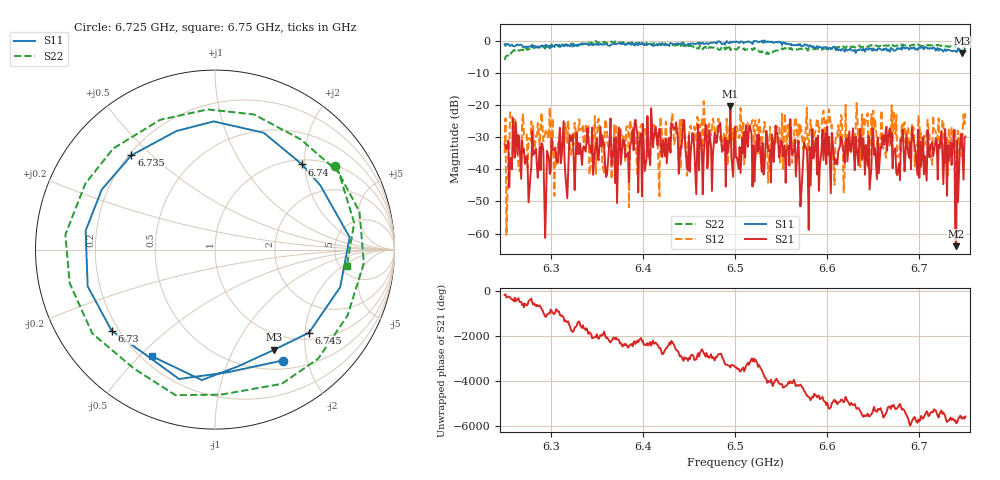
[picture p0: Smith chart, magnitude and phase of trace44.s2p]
# Hz S RI R 50
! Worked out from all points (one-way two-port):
!   401 points, 6.25 GHz to 6.75 GHz, reference 50 ohm
!   highest |S21| = -20.32 dB at 6.495 GHz (marker M1); lowest = -63.9 dB at 6.74 GHz (marker M2)
!   lowest |S11| = -3.8 dB at 6.746 GHz (marker M3), VSWR 4.68, Z = 38.3 - j73.5 ohm
!   |S11| at or under -10 dB: nowhere
!   |S22| runs from -5.9 to 0.1 dB; largest |S21 - S12| = 0.15
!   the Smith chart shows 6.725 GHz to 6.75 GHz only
!   S11 on the Smith chart (normalised r, x): 6.725 GHz: 0.62, -1.60; 6.73 GHz: 0.17, -0.34; 6.735 GHz: 0.21, +0.43; 6.74 GHz: 1.10, +1.94; 6.745 GHz: 1.16, -2.10; 6.75 GHz: 0.24, -0.55
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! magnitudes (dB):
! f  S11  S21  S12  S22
! 6.25 GHz  -0.9  -32.1  -34.9  -5.9
! 6.259 GHz  -1.5  -24.0  -28.5  -3.0
! 6.265 GHz  -1.3  -29.3  -38.6  -2.9
! 6.276 GHz  -1.8  -50.3  -30.3  -2.5
! 6.29 GHz  -1.6  -31.8  -22.3  -1.8
! 6.296 GHz  -1.8  -34.2  -28.6  -1.7
! 6.306 GHz  -1.1  -37.1  -38.5  -1.1
! 6.334 GHz  -1.0  -38.6  -27.5  -0.7
! 6.418 GHz  -0.7  -27.3  -48.3  -1.1
! 6.495 GHz  -0.1  -20.3  -25.4  -2.8
! 6.5 GHz  -0.2  -26.7  -32.6  -2.5
! 6.58 GHz  -1.8  -58.8  -32.7  -2.3
! 6.584 GHz  -2.0  -27.4  -31.0  -2.3
! 6.668 GHz  -3.3  -27.2  -32.6  -1.1
! 6.676 GHz  -2.2  -41.8  -36.2  -1.4
! 6.725 GHz  -2.8  -34.2  -24.6  -1.8
! 6.73 GHz  -2.7  -48.2  -30.2  -1.5
! 6.735 GHz  -3.1  -38.6  -26.8  -1.9
! 6.74 GHz  -3.4  -63.9  -51.0  -1.8
! 6.745 GHz  -3.1  -30.2  -28.8  -2.1
! 6.746 GHz  -3.8  -29.0  -35.9  -2.2
! 6.75 GHz  -3.2  -29.7  -22.5  -2.6
